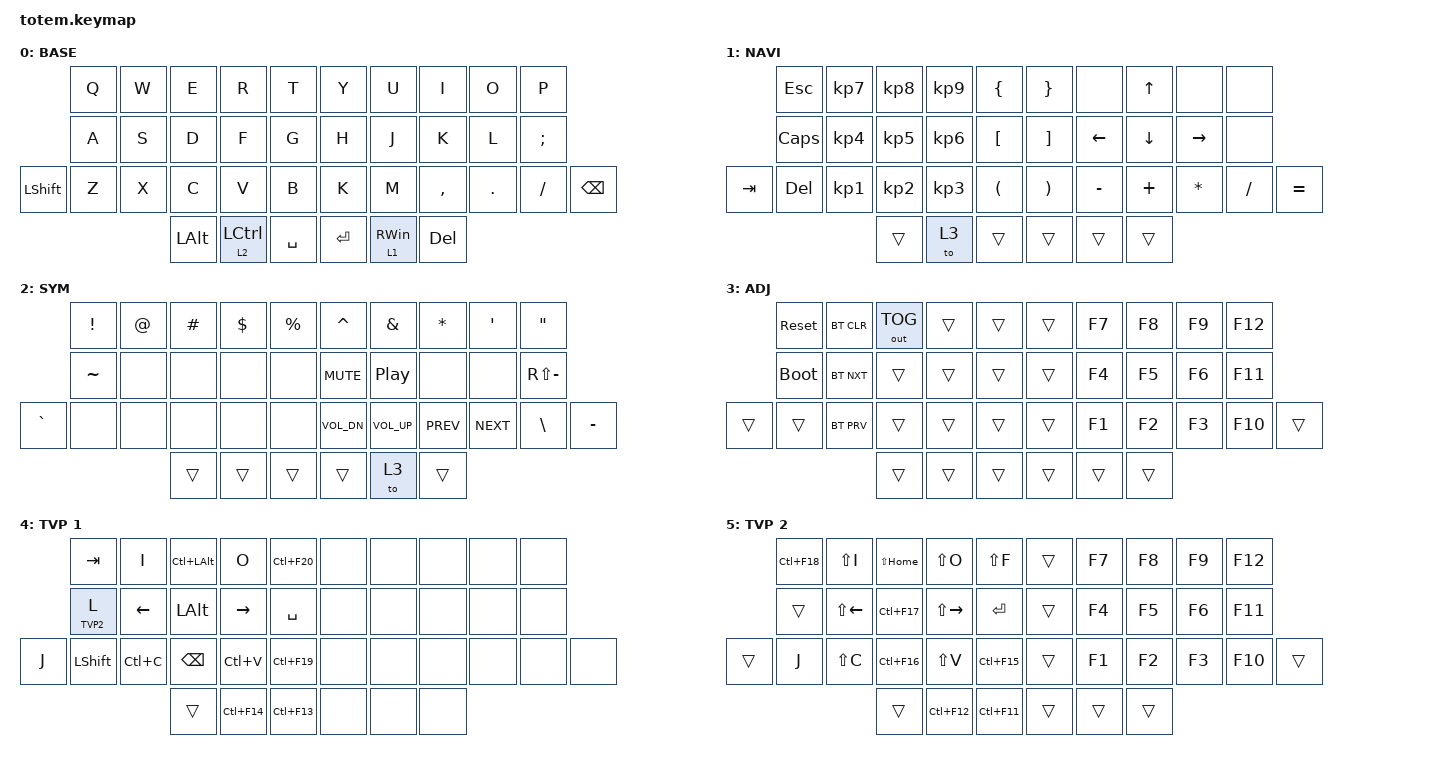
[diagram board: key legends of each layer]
//
//                                                        ▀▀▀▀▀     ▀▀▀▀▀          ▀▀█▀▀
//                                                        ▄▀▀▀▄  ▄  ▄▀▀▀▄  ▄  ▄▀▀▀▄  █  ▄▀▀▀▄
//                                                        █   █  █  █   █  █  █   █  █  █   █
//                                                         ▀▀▀   █   ▀▀▀   █   ▀▀▀   ▀   ▀▀▀
//                                                               █      ▄▄▄█▄▄▄    █   █  
//                                                               ▀      █  █  █     █▄█
//                                                             ▀▀▀▀▀    █  █  █      ▀
//                                                                      ▀  ▀  ▀
//
// ▄▄▄▄▄▄▄▄▄▄▄▄▄▄▄▄▄▄▄▄▄▄▄▄▄▄▄▄▄▄▄▄▄▄▄▄▄▄▄▄▄▄▄▄▄▄▄▄▄▄▄▄▄▄▄▄▄▄▄▄▄▄▄▄▄▄▄▄▄▄▄▄▄▄▄▄▄▄▄▄▄▄▄▄▄▄▄▄▄▄▄▄▄▄▄▄▄▄▄▄▄▄▄▄▄▄▄▄▄▄▄▄▄▄▄▄▄▄▄▄▄▄▄▄▄▄▄▄▄▄▄▄▄▄▄▄▄▄▄▄▄▄▄▄▄▄▄▄▄

#include <behaviors.dtsi>
#include <dt-bindings/zmk/bt.h>
#include <dt-bindings/zmk/keys.h>
#include <dt-bindings/zmk/outputs.h>

#define BASE 0
#define NAV  1
#define SYM  2
#define ADJ  3
#define TVP1 4
#define TVP2 5

&mt {
    quick-tap-ms = <100>;
    global-quick-tap;
    flavor = "tap-preferred";
    tapping-term-ms = <170>;
};

/ {
    combos {
        compatible = "zmk,combos";

        combo_esc {
            timeout-ms = <50>;
            key-positions = <0 1>;
            bindings = <&kp ESC>;
        };

        combo_tvp {
            timeout-ms = <100>;
            key-positions = <11 12 13>;
            bindings = <&tog TVP1>;
        };
    };

    macros {
        gif: gif {
            label = "giphy";
            compatible = "zmk,behavior-macro";
            #binding-cells = <0>;
            bindings =
                <&macro_press>,
                <&kp LSHFT>,
                <&macro_tap>,
                <&kp N2>,
                <&macro_release>,
                <&kp LSHFT>,
                <&macro_tap>,
                <&kp G &kp I &kp F>;
        };
    };

    keymap {
        compatible = "zmk,keymap";

        // ▄▄▄▄▄▄▄▄▄▄▄▄▄▄▄▄▄▄▄▄▄▄▄▄▄▄▄▄▄▄▄▄▄▄▄▄▄▄▄▄▄▄▄▄▄▄▄▄▄▄▄▄▄▄▄▄▄▄▄▄▄▄▄▄▄▄▄▄▄▄▄▄▄▄▄▄▄▄▄▄▄▄▄▄▄▄▄▄▄▄▄▄▄▄▄▄▄▄▄▄▄▄▄▄▄▄▄▄▄▄▄▄▄▄▄▄▄▄▄▄▄▄▄▄▄▄▄▄▄▄▄▄▄▄▄▄▄▄▄▄▄▄▄▄▄▄▄▄▄

        base_layer {
            // ┏━━━━━━━━━━━━━━━━━━━━━━━━━━━━━━━━━━━━━━━┓

            label = "BASE";

            // ┗━━━━━━━━━━━━━━━━━━━━━━━━━━━━━━━━━━━━━━━┛
            //             ┏━━━━━━━━━━━┳━━━━━━━━━━━┳━━━━━━━━━━━┳━━━━━━━━━━━┳━━━━━━━━━━━┓   ┏━━━━━━━━━━━┳━━━━━━━━━━━┳━━━━━━━━━━━┳━━━━━━━━━━━┳━━━━━━━━━━━┓
            //             ┃     Q     ┃     W     ┃     F     ┃     P     ┃     G     ┃   ┃     J     ┃     L     ┃     U     ┃     Y     ┃     ;     ┃
            //             ┣━━━━━━━━━━━╋━━━━━━━━━━━╋━━━━━━━━━━━╋━━━━━━━━━━━╋━━━━━━━━━━━┫   ┣━━━━━━━━━━━╋━━━━━━━━━━━╋━━━━━━━━━━━╋━━━━━━━━━━━╋━━━━━━━━━━━┫
            //             ┃     A     ┃     R     ┃     S     ┃     T     ┃     D     ┃   ┃     H     ┃     N     ┃     E     ┃     I     ┃     O     ┃
            // ┏━━━━━━━━━━━╋━━━━━━━━━━━╋━━━━━━━━━━━╋━━━━━━━━━━━╋━━━━━━━━━━━╋━━━━━━━━━━━┫   ┣━━━━━━━━━━━╋━━━━━━━━━━━╋━━━━━━━━━━━╋━━━━━━━━━━━╋━━━━━━━━━━━╋━━━━━━━━━━━┓
            // ┃     Q     ┃     Z     ┃     X     ┃     C     ┃     V     ┃     B     ┃   ┃     K     ┃     M     ┃     ,     ┃     .     ┃     /     ┃     \     ┃
            // ┗━━━━━━━━━━━┻━━━━━━━━━━━┻━━━━━━━━━━━╋━━━━━━━━━━━╋━━━━━━━━━━━╋━━━━━━━━━━━┫   ┣━━━━━━━━━━━╋━━━━━━━━━━━╋━━━━━━━━━━━╋━━━━━━━━━━━┻━━━━━━━━━━━┻━━━━━━━━━━━┛
            //                                     ┃    DEL    ┃    TAB    ┃    SPC    ┃   ┃   ENTER   ┃           ┃   BSPC    ┃
            //                                     ┗━━━━━━━━━━━┻━━━━━━━━━━━┻━━━━━━━━━━━┛   ┗━━━━━━━━━━━┻━━━━━━━━━━━┻━━━━━━━━━━━┛

            bindings = <
                &kp Q  &kp W  &kp E         &kp R               &kp T        &kp Y    &kp U            &kp I       &kp O    &kp P
                &kp A  &kp S  &kp D         &kp F               &kp G        &kp H    &kp J            &kp K       &kp L    &kp SEMI
&kp LEFT_SHIFT  &kp Z  &kp X  &kp C         &kp V               &kp B        &kp K    &kp M            &kp COMMA   &kp DOT  &kp FSLH  &kp BACKSPACE
                              &kp LEFT_ALT  &lt 2 LEFT_CONTROL  &kp SPACE    &kp RET  &lt 1 RIGHT_WIN  &kp DELETE
            >;
        };

        // ▄▄▄▄▄▄▄▄▄▄▄▄▄▄▄▄▄▄▄▄▄▄▄▄▄▄▄▄▄▄▄▄▄▄▄▄▄▄▄▄▄▄▄▄▄▄▄▄▄▄▄▄▄▄▄▄▄▄▄▄▄▄▄▄▄▄▄▄▄▄▄▄▄▄▄▄▄▄▄▄▄▄▄▄▄▄▄▄▄▄▄▄▄▄▄▄▄▄▄▄▄▄▄▄▄▄▄▄▄▄▄▄▄▄▄▄▄▄▄▄▄▄▄▄▄▄▄▄▄▄▄▄▄▄▄▄▄▄▄▄▄▄▄▄▄▄▄▄▄

        nav_layer {
            // ┏━━━━━━━━━━━━━━━━━━━━━━━━━━━━━━━━━━━━━━━┓

            label = "NAVI";

            // ┗━━━━━━━━━━━━━━━━━━━━━━━━━━━━━━━━━━━━━━━┛
            //             ┏━━━━━━━━━━━┳━━━━━━━━━━━┳━━━━━━━━━━━┳━━━━━━━━━━━┳━━━━━━━━━━━┓   ┏━━━━━━━━━━━┳━━━━━━━━━━━┳━━━━━━━━━━━┳━━━━━━━━━━━┳━━━━━━━━━━━┓
            //             ┃           ┃           ┃     UP    ┃           ┃     {     ┃   ┃     }     ┃     7     ┃     8     ┃     9     ┃     +     ┃
            //             ┣━━━━━━━━━━━╋━━━━━━━━━━━╋━━━━━━━━━━━╋━━━━━━━━━━━╋━━━━━━━━━━━┫   ┣━━━━━━━━━━━╋━━━━━━━━━━━╋━━━━━━━━━━━╋━━━━━━━━━━━╋━━━━━━━━━━━┫
            //             ┃   SHIFT   ┃   LEFT    ┃    DOWN   ┃   RIGHT   ┃     [     ┃   ┃     ]     ┃     4     ┃     5     ┃     6     ┃     -     ┃
            // ┏━━━━━━━━━━━╋━━━━━━━━━━━╋━━━━━━━━━━━╋━━━━━━━━━━━╋━━━━━━━━━━━╋━━━━━━━━━━━┫   ┣━━━━━━━━━━━╋━━━━━━━━━━━╋━━━━━━━━━━━╋━━━━━━━━━━━╋━━━━━━━━━━━╋━━━━━━━━━━━┓
            // ┃           ┃           ┃   P UP    ┃  C LOCK   ┃  P DOWN   ┃     (     ┃   ┃     )     ┃     1     ┃     2     ┃     3     ┃     *     ┃           ┃
            // ┗━━━━━━━━━━━┻━━━━━━━━━━━┻━━━━━━━━━━━╋━━━━━━━━━━━╋━━━━━━━━━━━╋━━━━━━━━━━━┫   ┣━━━━━━━━━━━╋━━━━━━━━━━━╋━━━━━━━━━━━╋━━━━━━━━━━━┻━━━━━━━━━━━┻━━━━━━━━━━━┛
            //                                     ┃           ┃    TAB    ┃    SPC    ┃   ┃    DEL    ┃     0     ┃           ┃
            //                                     ┗━━━━━━━━━━━┻━━━━━━━━━━━┻━━━━━━━━━━━┛   ┗━━━━━━━━━━━┻━━━━━━━━━━━┻━━━━━━━━━━━┛

            bindings = <
         &kp ESC       &kp KP_N7  &kp KP_N8  &kp KP_N9  &kp LBRC    &kp RBRC  &none           &kp UP_ARROW    &none            &none
         &kp CAPSLOCK  &kp KP_N4  &kp KP_N5  &kp KP_N6  &kp LBKT    &kp RBKT  &kp LEFT_ARROW  &kp DOWN_ARROW  &kp RIGHT_ARROW  &none
&kp TAB  &kp DEL       &kp KP_N1  &kp KP_N2  &kp KP_N3  &kp LPAR    &kp RPAR  &kp MINUS       &kp PLUS        &kp STAR         &kp SLASH  &kp EQUAL
                                  &trans     &to 3      &trans      &trans    &trans          &trans
            >;
        };

        // ▄▄▄▄▄▄▄▄▄▄▄▄▄▄▄▄▄▄▄▄▄▄▄▄▄▄▄▄▄▄▄▄▄▄▄▄▄▄▄▄▄▄▄▄▄▄▄▄▄▄▄▄▄▄▄▄▄▄▄▄▄▄▄▄▄▄▄▄▄▄▄▄▄▄▄▄▄▄▄▄▄▄▄▄▄▄▄▄▄▄▄▄▄▄▄▄▄▄▄▄▄▄▄▄▄▄▄▄▄▄▄▄▄▄▄▄▄▄▄▄▄▄▄▄▄▄▄▄▄▄▄▄▄▄▄▄▄▄▄▄▄▄▄▄▄▄▄▄▄

        sym_layer {
            // ┏━━━━━━━━━━━━━━━━━━━━━━━━━━━━━━━━━━━━━━━┓

            label = "SYM";

            // ┗━━━━━━━━━━━━━━━━━━━━━━━━━━━━━━━━━━━━━━━┛
            //             ┏━━━━━━━━━━━┳━━━━━━━━━━━┳━━━━━━━━━━━┳━━━━━━━━━━━┳━━━━━━━━━━━┓   ┏━━━━━━━━━━━┳━━━━━━━━━━━┳━━━━━━━━━━━┳━━━━━━━━━━━┳━━━━━━━━━━━┓
            //             ┃     !     ┃     @     ┃     #     ┃     $     ┃     %     ┃   ┃     ˆ     ┃     &     ┃     Ü     ┃     '     ┃     "     ┃
            //             ┣━━━━━━━━━━━╋━━━━━━━━━━━╋━━━━━━━━━━━╋━━━━━━━━━━━╋━━━━━━━━━━━┫   ┣━━━━━━━━━━━╋━━━━━━━━━━━╋━━━━━━━━━━━╋━━━━━━━━━━━╋━━━━━━━━━━━┫
            //             ┃     Ä     ┃           ┃    SZ     ┃           ┃           ┃   ┃   MUTE    ┃   YEN     ┃   EURO    ┃  POUND    ┃     Ö     ┃
            // ┏━━━━━━━━━━━╋━━━━━━━━━━━╋━━━━━━━━━━━╋━━━━━━━━━━━╋━━━━━━━━━━━╋━━━━━━━━━━━┫   ┣━━━━━━━━━━━╋━━━━━━━━━━━╋━━━━━━━━━━━╋━━━━━━━━━━━╋━━━━━━━━━━━╋━━━━━━━━━━━┓
            // ┃           ┃  EMAIL1   ┃  EMAIL2   ┃           ┃           ┃           ┃   ┃   VOL-    ┃   VOL+    ┃   LAST    ┃   NEXT    ┃     \     ┃           ┃
            // ┗━━━━━━━━━━━┻━━━━━━━━━━━┻━━━━━━━━━━━╋━━━━━━━━━━━╋━━━━━━━━━━━╋━━━━━━━━━━━┫   ┣━━━━━━━━━━━╋━━━━━━━━━━━╋━━━━━━━━━━━╋━━━━━━━━━━━┻━━━━━━━━━━━┻━━━━━━━━━━━┛
            //                                     ┃           ┃    GIF    ┃    ADJ    ┃   ┃           ┃           ┃           ┃
            //                                     ┗━━━━━━━━━━━┻━━━━━━━━━━━┻━━━━━━━━━━━┛   ┗━━━━━━━━━━━┻━━━━━━━━━━━┻━━━━━━━━━━━┛

            bindings = <
           &kp EXCL   &kp AT  &kp HASH  &kp DLLR  &kp PRCNT    &kp CARET     &kp AMPS      &kp ASTERISK  &kp SQT     &kp DQT
           &kp TILDE  &none   &none     &none     &none        &kp C_MUTE    &kp C_PP      &none         &none       &kp RS(MINUS)
&kp GRAVE  &none      &none   &none     &none     &none        &kp C_VOL_DN  &kp C_VOL_UP  &kp C_PREV    &kp C_NEXT  &kp BSLH       &kp MINUS
                              &trans    &trans    &trans       &trans        &to 3         &trans
            >;
        };

        // ▄▄▄▄▄▄▄▄▄▄▄▄▄▄▄▄▄▄▄▄▄▄▄▄▄▄▄▄▄▄▄▄▄▄▄▄▄▄▄▄▄▄▄▄▄▄▄▄▄▄▄▄▄▄▄▄▄▄▄▄▄▄▄▄▄▄▄▄▄▄▄▄▄▄▄▄▄▄▄▄▄▄▄▄▄▄▄▄▄▄▄▄▄▄▄▄▄▄▄▄▄▄▄▄▄▄▄▄▄▄▄▄▄▄▄▄▄▄▄▄▄▄▄▄▄▄▄▄▄▄▄▄▄▄▄▄▄▄▄▄▄▄▄▄▄▄▄▄▄

        adjust_layer {
            // ┏━━━━━━━━━━━━━━━━━━━━━━━━━━━━━━━━━━━━━━━┓

            label = "ADJ";

            // ┗━━━━━━━━━━━━━━━━━━━━━━━━━━━━━━━━━━━━━━━┛
            //             ┏━━━━━━━━━━━┳━━━━━━━━━━━┳━━━━━━━━━━━┳━━━━━━━━━━━┳━━━━━━━━━━━┓   ┏━━━━━━━━━━━┳━━━━━━━━━━━┳━━━━━━━━━━━┳━━━━━━━━━━━┳━━━━━━━━━━━┓
            //             ┃   RESET   ┃ BT CLEAR  ┃  OUT TOG  ┃           ┃           ┃   ┃           ┃    F7     ┃    F8     ┃    F9     ┃    F12    ┃
            //             ┣━━━━━━━━━━━╋━━━━━━━━━━━╋━━━━━━━━━━━╋━━━━━━━━━━━╋━━━━━━━━━━━┫   ┣━━━━━━━━━━━╋━━━━━━━━━━━╋━━━━━━━━━━━╋━━━━━━━━━━━╋━━━━━━━━━━━┫
            //             ┃ BOOTLOAD  ┃ BT NEXT   ┃           ┃           ┃           ┃   ┃           ┃    F4     ┃    F5     ┃    F6     ┃    F11    ┃
            // ┏━━━━━━━━━━━╋━━━━━━━━━━━╋━━━━━━━━━━━╋━━━━━━━━━━━╋━━━━━━━━━━━╋━━━━━━━━━━━┫   ┣━━━━━━━━━━━╋━━━━━━━━━━━╋━━━━━━━━━━━╋━━━━━━━━━━━╋━━━━━━━━━━━╋━━━━━━━━━━━┓
            // ┃           ┃           ┃ BT PREV   ┃           ┃           ┃           ┃   ┃           ┃    F1     ┃    F2     ┃    F3     ┃    F10    ┃           ┃
            // ┗━━━━━━━━━━━┻━━━━━━━━━━━┻━━━━━━━━━━━╋━━━━━━━━━━━╋━━━━━━━━━━━╋━━━━━━━━━━━┫   ┣━━━━━━━━━━━╋━━━━━━━━━━━╋━━━━━━━━━━━╋━━━━━━━━━━━┻━━━━━━━━━━━┻━━━━━━━━━━━┛
            //                                     ┃           ┃           ┃           ┃   ┃           ┃           ┃           ┃
            //                                     ┗━━━━━━━━━━━┻━━━━━━━━━━━┻━━━━━━━━━━━┛   ┗━━━━━━━━━━━┻━━━━━━━━━━━┻━━━━━━━━━━━┛

            bindings = <
        &sys_reset   &bt BT_CLR  &out OUT_TOG  &trans  &trans    &trans  &kp F7  &kp F8  &kp F9  &kp F12
        &bootloader  &bt BT_NXT  &trans        &trans  &trans    &trans  &kp F4  &kp F5  &kp F6  &kp F11
&trans  &trans       &bt BT_PRV  &trans        &trans  &trans    &trans  &kp F1  &kp F2  &kp F3  &kp F10  &trans
                                 &trans        &trans  &trans    &trans  &trans  &trans
            >;
        };

        // ▄▄▄▄▄▄▄▄▄▄▄▄▄▄▄▄▄▄▄▄▄▄▄▄▄▄▄▄▄▄▄▄▄▄▄▄▄▄▄▄▄▄▄▄▄▄▄▄▄▄▄▄▄▄▄▄▄▄▄▄▄▄▄▄▄▄▄▄▄▄▄▄▄▄▄▄▄▄▄▄▄▄▄▄▄▄▄▄▄▄▄▄▄▄▄▄▄▄▄▄▄▄▄▄▄▄▄▄▄▄▄▄▄▄▄▄▄▄▄▄▄▄▄▄▄▄▄▄▄▄▄▄▄▄▄▄▄▄▄▄▄▄▄▄▄▄▄▄▄

        tvp1_layer {
            // ┏━━━━━━━━━━━━━━━━━━━━━━━━━━━━━━━━━━━━━━━┓

            label = "TVP 1";

            // ┗━━━━━━━━━━━━━━━━━━━━━━━━━━━━━━━━━━━━━━━┛
            //             ┏━━━━━━━━━━━┳━━━━━━━━━━━┳━━━━━━━━━━━┳━━━━━━━━━━━┳━━━━━━━━━━━┓   ┏━━━━━━━━━━━┳━━━━━━━━━━━┳━━━━━━━━━━━┳━━━━━━━━━━━┳━━━━━━━━━━━┓
            //             ┃ NEXT FILE ┃ MARK IN   ┃ ROTATE    ┃ MARK OUT  ┃ SHOW SNAP ┃   ┃           ┃           ┃           ┃           ┃           ┃
            //             ┣━━━━━━━━━━━╋━━━━━━━━━━━╋━━━━━━━━━━━╋━━━━━━━━━━━╋━━━━━━━━━━━┫   ┣━━━━━━━━━━━╋━━━━━━━━━━━╋━━━━━━━━━━━╋━━━━━━━━━━━╋━━━━━━━━━━━┫
            //             ┃ TVP II    ┃ LEFT      ┃ PAN       ┃ RIGHT     ┃ PLAY/FLIP ┃   ┃           ┃           ┃           ┃           ┃           ┃
            // ┏━━━━━━━━━━━╋━━━━━━━━━━━╋━━━━━━━━━━━╋━━━━━━━━━━━╋━━━━━━━━━━━╋━━━━━━━━━━━┫   ┣━━━━━━━━━━━╋━━━━━━━━━━━╋━━━━━━━━━━━╋━━━━━━━━━━━╋━━━━━━━━━━━╋━━━━━━━━━━━┓
            // ┃ FULLSCR   ┃ SHIFT     ┃ COPY      ┃ DELETE    ┃ PASTE     ┃ IMG MARK  ┃   ┃           ┃           ┃           ┃           ┃           ┃           ┃
            // ┗━━━━━━━━━━━┻━━━━━━━━━━━┻━━━━━━━━━━━╋━━━━━━━━━━━╋━━━━━━━━━━━╋━━━━━━━━━━━┫   ┣━━━━━━━━━━━╋━━━━━━━━━━━╋━━━━━━━━━━━╋━━━━━━━━━━━┻━━━━━━━━━━━┻━━━━━━━━━━━┛
            //                                     ┃           ┃ UNDO/SAVE ┃  SEL/MOV  ┃   ┃           ┃           ┃           ┃
            //                                     ┗━━━━━━━━━━━┻━━━━━━━━━━━┻━━━━━━━━━━━┛   ┗━━━━━━━━━━━┻━━━━━━━━━━━┻━━━━━━━━━━━┛

            bindings = <
       &kp TAB     &kp I      &kp LC(LALT)  &kp O        &kp LC(F20)    &none  &none  &none  &none  &none
       &lt TVP2 L  &kp LEFT   &kp LALT      &kp RIGHT    &kp SPACE      &none  &none  &none  &none  &none
&kp J  &kp LSHFT   &kp LC(C)  &kp BSPC      &kp LC(V)    &kp LC(F19)    &none  &none  &none  &none  &none  &none
                              &trans        &kp LC(F14)  &kp LC(F13)    &none  &none  &none
            >;
        };

        // ▄▄▄▄▄▄▄▄▄▄▄▄▄▄▄▄▄▄▄▄▄▄▄▄▄▄▄▄▄▄▄▄▄▄▄▄▄▄▄▄▄▄▄▄▄▄▄▄▄▄▄▄▄▄▄▄▄▄▄▄▄▄▄▄▄▄▄▄▄▄▄▄▄▄▄▄▄▄▄▄▄▄▄▄▄▄▄▄▄▄▄▄▄▄▄▄▄▄▄▄▄▄▄▄▄▄▄▄▄▄▄▄▄▄▄▄▄▄▄▄▄▄▄▄▄▄▄▄▄▄▄▄▄▄▄▄▄▄▄▄▄▄▄▄▄▄▄▄▄

        tvp2_layer {
            // ┏━━━━━━━━━━━━━━━━━━━━━━━━━━━━━━━━━━━━━━━┓

            label = "TVP 2";

            // ┗━━━━━━━━━━━━━━━━━━━━━━━━━━━━━━━━━━━━━━━┛
            //             ┏━━━━━━━━━━━┳━━━━━━━━━━━┳━━━━━━━━━━━┳━━━━━━━━━━━┳━━━━━━━━━━━┓   ┏━━━━━━━━━━━┳━━━━━━━━━━━┳━━━━━━━━━━━┳━━━━━━━━━━━┳━━━━━━━━━━━┓
            //             ┃ SOLO      ┃ TOGGLE IN ┃ RESET ROT ┃ TOGGLE OUT┃ TAKE SNAP ┃   ┃           ┃           ┃           ┃           ┃           ┃
            //             ┣━━━━━━━━━━━╋━━━━━━━━━━━╋━━━━━━━━━━━╋━━━━━━━━━━━╋━━━━━━━━━━━┫   ┣━━━━━━━━━━━╋━━━━━━━━━━━╋━━━━━━━━━━━╋━━━━━━━━━━━╋━━━━━━━━━━━┫
            //             ┃ ---       ┃ LAST KEY  ┃ NEW KEY   ┃ NEXT KEY  ┃ ENTER     ┃   ┃           ┃           ┃           ┃           ┃           ┃
            // ┏━━━━━━━━━━━╋━━━━━━━━━━━╋━━━━━━━━━━━╋━━━━━━━━━━━╋━━━━━━━━━━━╋━━━━━━━━━━━┫   ┣━━━━━━━━━━━╋━━━━━━━━━━━╋━━━━━━━━━━━╋━━━━━━━━━━━╋━━━━━━━━━━━╋━━━━━━━━━━━┓
            // ┃           ┃ FULLSCR   ┃ CPY2BRUSH ┃ DEL HEAD  ┃ PSTinPLACE┃ BOOK MARK ┃   ┃           ┃           ┃           ┃           ┃           ┃           ┃
            // ┗━━━━━━━━━━━┻━━━━━━━━━━━┻━━━━━━━━━━━╋━━━━━━━━━━━╋━━━━━━━━━━━╋━━━━━━━━━━━┫   ┣━━━━━━━━━━━╋━━━━━━━━━━━╋━━━━━━━━━━━╋━━━━━━━━━━━┻━━━━━━━━━━━┻━━━━━━━━━━━┛
            //                                     ┃           ┃ REDO/SAV1 ┃TRANS/WARP ┃   ┃           ┃           ┃           ┃
            //                                     ┗━━━━━━━━━━━┻━━━━━━━━━━━┻━━━━━━━━━━━┛   ┗━━━━━━━━━━━┻━━━━━━━━━━━┻━━━━━━━━━━━┛

            bindings = <
        &kp LC(F18)  &kp LS(I)     &kp LS(HOME)  &kp LS(O)      &kp LS(F)      &trans  &kp F7  &kp F8  &kp F9  &kp F12
        &trans       &kp LS(LEFT)  &kp LC(F17)   &kp LS(RIGHT)  &kp RET        &trans  &kp F4  &kp F5  &kp F6  &kp F11
&trans  &kp J        &kp LS(C)     &kp LC(F16)   &kp LS(V)      &kp LC(F15)    &trans  &kp F1  &kp F2  &kp F3  &kp F10  &trans
                                   &trans        &kp LC(F12)    &kp LC(F11)    &trans  &trans  &trans
            >;
        };
    };
};
